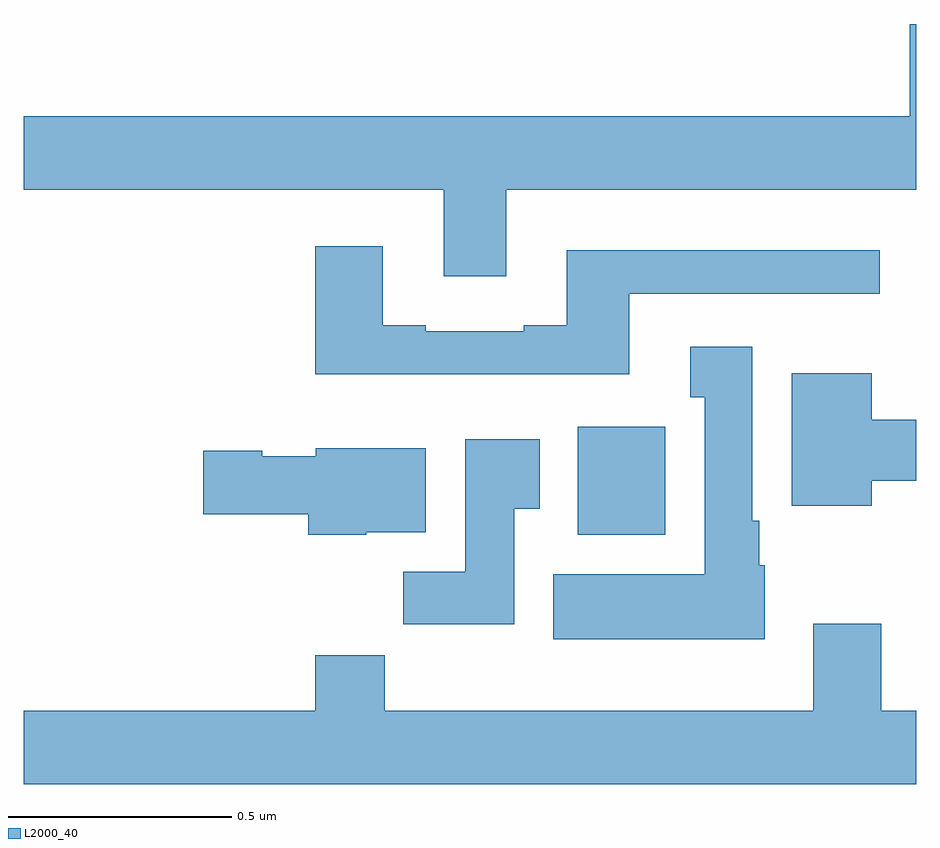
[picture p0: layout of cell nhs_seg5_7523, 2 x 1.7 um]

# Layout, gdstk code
import gdstk
lib = gdstk.Library(unit=1e-6, precision=1e-09)
def R(c, l, rs):  # rectangles x0, y0, x1, y1
    for r in rs: c.add(gdstk.rectangle(r[:2], r[2:], *l))
def P(c, l, *ps):  # polygons
    for p in ps: c.add(gdstk.Polygon(p, *l))
L2000_40 = (2000, 40)

nhs_seg5_7523 = lib.new_cell('nhs_seg5_7523')
R(nhs_seg5_7523, L2000_40, [(211.241,854.654,211.438,854.896)])
P(nhs_seg5_7523, L2000_40, [(211.081,855.428),(212,855.428),(212,855.799),(211.985,855.799),(211.985,855.592),(210,855.592),(210,855.428),(210.941,855.428),(210.941,855.234),(211.081,855.234)],
  [(211.357,855.195),(211.918,855.195),(211.918,855.292),(211.217,855.292),(211.217,855.124),(211.121,855.124),(211.121,855.111),(210.901,855.111),(210.901,855.124),(210.805,855.124),(210.805,855.301),(210.653,855.301),(210.653,855.014),(211.357,855.014)],
  [(211.66,854.586),(211.648,854.586),(211.648,854.686),(211.633,854.686),(211.633,855.076),(211.493,855.076),(211.493,854.963),(211.526,854.963),(211.526,854.566),(211.187,854.566),(211.187,854.42),(211.66,854.42)],
  [(211.9,854.776),(212,854.776),(212,854.912),(211.9,854.912),(211.9,855.016),(211.721,855.016),(211.721,854.72),(211.9,854.72)],
  [(211.099,854.713),(211.156,854.713),(211.156,854.869),(210.989,854.869),(210.989,854.572),(210.85,854.572),(210.85,854.454),(211.099,854.454)],
  [(210.768,854.66),(210.901,854.66),(210.901,854.848),(210.654,854.848),(210.654,854.83),(210.534,854.83),(210.534,854.843),(210.402,854.843),(210.402,854.701),(210.638,854.701),(210.638,854.654),(210.768,854.654)],
  [(212,854.26),(211.922,854.26),(211.922,854.455),(211.769,854.455),(211.769,854.26),(210.809,854.26),(210.809,854.384),(210.653,854.384),(210.653,854.26),(210,854.26),(210,854.096),(212,854.096)])

lib.write_gds('nhs_seg5_7523.gds')
